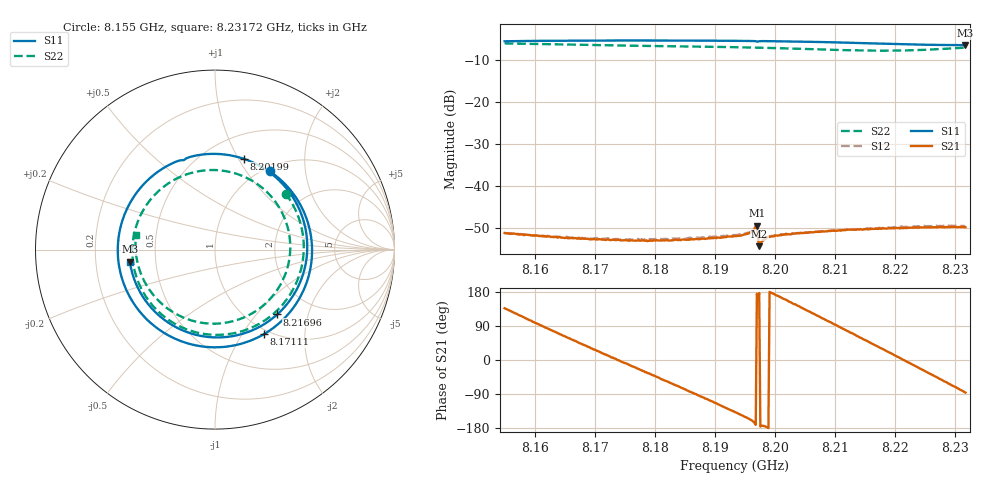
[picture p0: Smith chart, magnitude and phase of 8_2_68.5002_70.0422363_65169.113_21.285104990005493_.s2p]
#  HZ  S  RI  R  50.00
! Rohde & Schwarz Vector Network Analyzer
! Rohde-Schwarz,ZNB20-2Port,1311601062101988,3.16
! Created: UTC 3/20/2024, 5:04:03 PM
! freq[Hz]  re:S11  im:S11  re:S21  im:S21  re:S12  im:S12  re:S22  im:S22
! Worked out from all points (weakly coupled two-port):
!   401 points, 8.155 GHz to 8.23172 GHz, reference 50 ohm
!   highest |S21| = -49.41 dB at 8.19701 GHz (marker M1); lowest = -54.3 dB at 8.19739 GHz (marker M2)
!   lowest |S11| = -6.4 dB at 8.23172 GHz (marker M3), VSWR 2.84, Z = 17.7 - j3.11 ohm
!   |S11| at or under -10 dB: nowhere
!   |S22| runs from -7.7 to -6.0 dB; largest |S21 - S12| = 0.00024
!   S11 on the Smith chart (normalised r, x): 8.155 GHz: 1.07, +1.30; 8.17111 GHz: 0.93, -1.25; 8.20199 GHz: 0.75, +1.06; 8.21696 GHz: 1.34, -1.30; 8.23172 GHz: 0.35, -0.06
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8.154999e9  0.3052 0.4361  -0.002 0.00189  -0.00201 0.0019  0.3932 0.3124
8.161713e9  0.5361 0.0645  0.000174 0.0025  0.000179 0.00254  0.4867 -0.0763
8.167851e9  0.4352 -0.3256  0.00177 0.00159  0.00176 0.00165  0.2996 -0.379
8.171111e9  0.2715 -0.4719  0.00219 0.000761  0.00223 0.000801  0.1297 -0.4604
8.175907e9  -0.043 -0.5426  0.00218 -0.000547  0.00224 -0.00056  -0.1408 -0.4504
8.180702e9  -0.3445 -0.4206  0.00154 -0.00163  0.00158 -0.0017  -0.3598 -0.297
8.187032e9  -0.5406 -0.0399  -5.97e-05 -0.00233  -0.000112 -0.00244  -0.459 0.033
8.190101e9  -0.5128 0.1714  -0.000954 -0.00222  -0.00106 -0.00225  -0.4124 0.1964
8.193362e9  -0.3955 0.3662  -0.00187 -0.00172  -0.00199 -0.00169  -0.3007 0.3382
8.196623e9  -0.2047 0.4943  -0.00302 -0.000738  -0.00311 -0.000667  -0.1409 0.4249
8.197006e9  -0.1773 0.4981  -0.00337 0.000313  -0.00341 0.000435  -0.12 0.4305
8.19739e9  -0.1607 0.508  -0.00192 0.000106  -0.00193 0.000156  -0.0991 0.4352
8.197774e9  -0.1336 0.5179  -0.00214 -0.000231  -0.0022 -0.000141  -0.0777 0.4389
8.201994e9  0.1619 0.5053  -0.00245 0.000995  -0.00245 0.00115  0.1579 0.4082
8.206213e9  0.4029 0.3352  -0.00155 0.00233  -0.00148 0.00239  0.345 0.2544
8.211584e9  0.5128 -0.0228  0.000488 0.00294  0.000542 0.00297  0.4142 -0.0533
8.216955e9  0.3463 -0.3616  0.00246 0.00186  0.00256 0.00182  0.2408 -0.3333
8.219065e9  0.2189 -0.4449  0.00297 0.00106  0.00304 0.000979  0.1184 -0.3938
8.221942e9  0.0169 -0.4893  0.00316 -0.000231  0.00323 -0.000374  -0.0709 -0.4081
8.224819e9  -0.1857 -0.4475  0.00285 -0.00151  0.00289 -0.00172  -0.2513 -0.3374
8.228464e9  -0.3878 -0.2835  0.00172 -0.00277  0.00164 -0.00294  -0.4087 -0.1444
8.231725e9  -0.4742 -0.0678  0.000227 -0.00323  8.45e-05 -0.00336  -0.4404 0.0797
